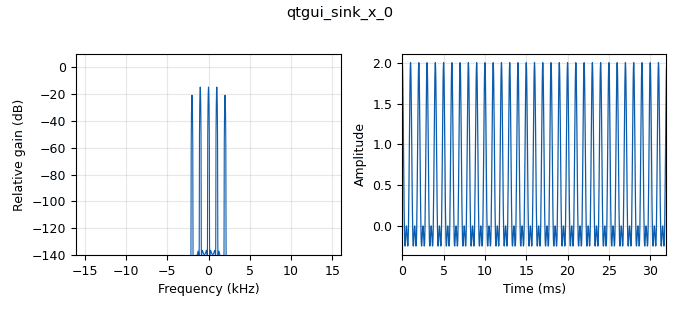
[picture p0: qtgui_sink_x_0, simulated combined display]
options:
  parameters:
    author: SUDARSHAN
    generate_options: qt_gui
    id: untitled
    output_language: python
    title: Not titled yet
  states: {}

blocks:
- name: samp_rate
  id: variable
  parameters:
    value: '32000'
  states: {}
- name: analog_sig_source_x_0
  id: analog_sig_source_x
  parameters:
    amp: '1'
    freq: '1000'
    offset: '0'
    phase: '0'
    samp_rate: samp_rate
    type: float
    waveform: analog.GR_COS_WAVE
  states: {}
- name: analog_sig_source_x_0_0
  id: analog_sig_source_x
  parameters:
    amp: '1'
    freq: '1000'
    offset: '0'
    phase: '0'
    samp_rate: samp_rate
    type: float
    waveform: analog.GR_COS_WAVE
  states: {}
- name: blocks_add_const_vxx_0
  id: blocks_add_const_vxx
  parameters:
    const: '1'
    type: float
  states: {}
- name: blocks_multiply_xx_0
  id: blocks_multiply_xx
  parameters:
    type: float
  states: {}
- name: blocks_throttle2_0
  id: blocks_throttle2
  parameters:
    samples_per_second: samp_rate
    type: float
  states: {}
- name: qtgui_sink_x_0
  id: qtgui_sink_x
  parameters:
    bw: samp_rate
    fc: '0'
    fftsize: '1024'
    type: float
  states: {}

connections:
- [analog_sig_source_x_0, '0', blocks_add_const_vxx_0, '0']
- [analog_sig_source_x_0_0, '0', blocks_multiply_xx_0, '1']
- [blocks_add_const_vxx_0, '0', blocks_multiply_xx_0, '0']
- [blocks_multiply_xx_0, '0', blocks_throttle2_0, '0']
- [blocks_throttle2_0, '0', qtgui_sink_x_0, '0']

metadata:
  file_format: 1
  grc_version: 3.10.12.0
